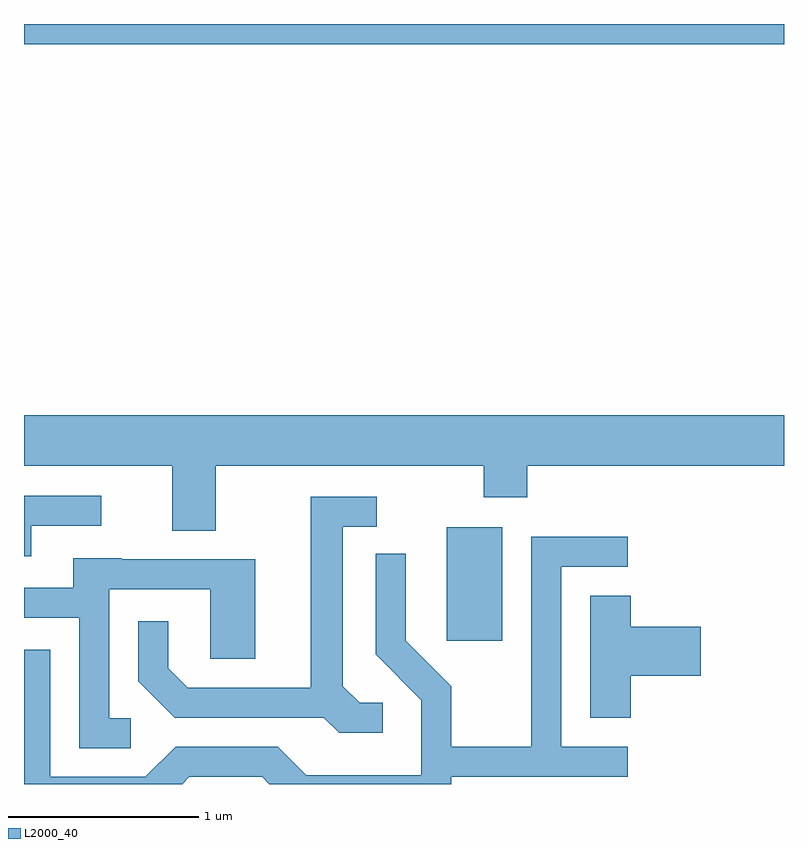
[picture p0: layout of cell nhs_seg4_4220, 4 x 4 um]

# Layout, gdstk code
import gdstk
lib = gdstk.Library(unit=1e-6, precision=1e-09)
def R(c, l, rs):  # rectangles x0, y0, x1, y1
    for r in rs: c.add(gdstk.rectangle(r[:2], r[2:], *l))
def P(c, l, *ps):  # polygons
    for p in ps: c.add(gdstk.Polygon(p, *l))
L2000_40 = (2000, 40)

nhs_seg4_4220 = lib.new_cell('nhs_seg4_4220')
R(nhs_seg4_4220, L2000_40, [(311.836,1262.736,312.129,1263.334), (309.611,1265.876,313.611,1265.982)])
P(nhs_seg4_4220, L2000_40, [(310.619,1263.656),(312.031,1263.656),(312.031,1263.491),(312.259,1263.491),(312.259,1263.656),(313.611,1263.656),(313.611,1263.924),(309.611,1263.924),(309.611,1263.656),(310.391,1263.656),(310.391,1263.316),(310.619,1263.316)],
  [(309.649,1263.341),(310.018,1263.341),(310.018,1263.499),(309.611,1263.499),(309.611,1263.181),(309.649,1263.181)],
  [(311.498,1262.409),(311.377,1262.409),(311.289,1262.497),(311.289,1263.336),(311.468,1263.336),(311.468,1263.494),(311.121,1263.494),(311.121,1262.489),(310.472,1262.489),(310.369,1262.592),(310.369,1262.838),(310.211,1262.838),(310.211,1262.524),(310.404,1262.331),(311.189,1262.331),(311.269,1262.251),(311.498,1262.251)],
  [(310.482,1262.021),(310.864,1262.021),(310.903,1261.982),(311.859,1261.982),(311.859,1262.021),(312.788,1262.021),(312.788,1262.179),(312.439,1262.179),(312.439,1263.126),(312.788,1263.126),(312.788,1263.284),(312.281,1263.284),(312.281,1262.179),(311.859,1262.179),(311.859,1262.497),(311.619,1262.737),(311.619,1263.193),(311.461,1263.193),(311.461,1262.664),(311.701,1262.424),(311.701,1262.029),(311.097,1262.029),(310.947,1262.179),(310.409,1262.179),(310.249,1262.019),(309.749,1262.019),(309.749,1262.689),(309.611,1262.689),(309.611,1261.982),(310.443,1261.982)],
  [(310.173,1262.329),(310.059,1262.329),(310.059,1263.006),(310.591,1263.006),(310.591,1262.641),(310.829,1262.641),(310.829,1263.164),(310.125,1263.164),(310.125,1263.169),(309.871,1263.169),(309.871,1263.014),(309.611,1263.014),(309.611,1262.856),(309.901,1262.856),(309.901,1262.171),(310.173,1262.171)],
  [(312.804,1262.551),(313.174,1262.551),(313.174,1262.809),(312.804,1262.809),(312.804,1262.974),(312.591,1262.974),(312.591,1262.331),(312.804,1262.331)])

lib.write_gds('nhs_seg4_4220.gds')
